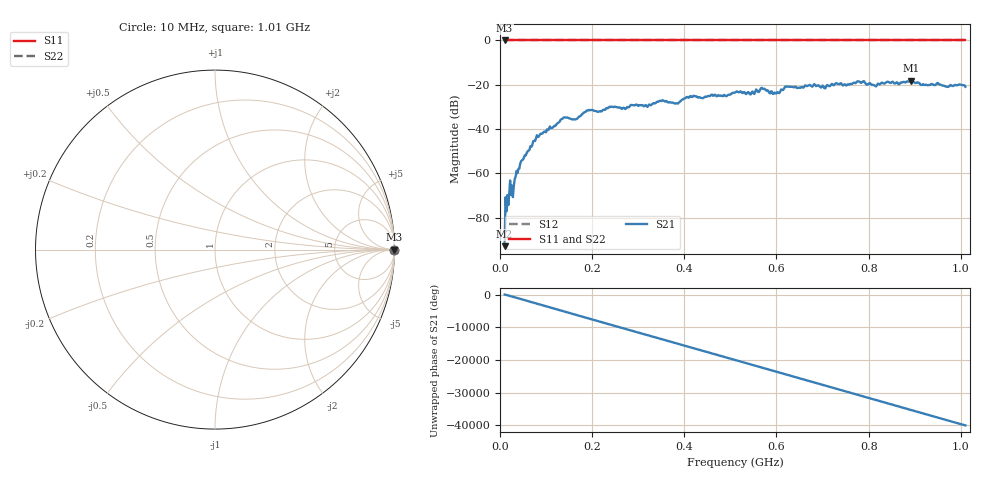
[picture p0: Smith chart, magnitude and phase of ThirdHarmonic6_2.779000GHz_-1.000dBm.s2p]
! 8/17/2025 7:07:08 AM
! C:\ANRITSUVNA\TEMP\TEMP.S2P
! CHANNEL.1
! TR.MEASUREMENT
! RAW.DATA
! RF.CORRECTION.OFF
! AVERAGING.OFF
! IF.BANDWIDTH: 5KHZ
! SWEEPTYPE:  FREQ.SWEEP(Linear)
! Reference Plane Port Info
! PORT:  PORT1  PORT2
! DISTANCE:  0  m  0  m
! TIME:  0  s  0  s
! PHASE.OFFSET:  0  deg.  0  deg.
! LOSS:  0  dB  0  dB
! REF.LOSS:  0  dB  0  dB
! REF.FREQ:  0  Hz  0  Hz
! Power Info
! POWER:  -20  dBm  -20  dBm
! EFF.POWER:  -20  dBm  -20  dBm
! SOURCE.ATTEN:  0  dB  0  dB
! TEST.ATTEN:  0  dB  0  dB
# GHZ S RI R 50.0
! FREQ.GHZ  S11RE  S11IM  S21RE  S21IM  S12RE  S12IM  S22RE  S22IM
!; PortSelection: Port_12
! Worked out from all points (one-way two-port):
!   501 points, 10 MHz to 1.01 GHz, reference 50 ohm
!   highest |S21| = -18.08 dB at 892 MHz (marker M1); lowest = -92.8 dB at 10 MHz (marker M2)
!   lowest |S11| = 0.0 dB at 10 MHz (marker M3)
!   |S11| at or under -10 dB: nowhere
!   |S22| runs from 0.0 to 0.0 dB; largest |S21 - S12| = 1.1
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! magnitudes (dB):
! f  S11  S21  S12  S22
! 10 MHz  0.0  -92.8  0.0  0.0
! 20 MHz  0.0  -69.3  0.0  0.0
! 28 MHz  0.0  -70.7  0.0  0.0
! 44 MHz  0.0  -55.4  0.0  0.0
! 76 MHz  0.0  -45.4  0.0  0.0
! 136 MHz  0.0  -35.2  0.0  0.0
! 162 MHz  0.0  -35.7  0.0  0.0
! 178 MHz  0.0  -33.2  0.0  0.0
! 192 MHz  0.0  -31.6  0.0  0.0
! 316 MHz  0.0  -29.1  0.0  0.0
! 344 MHz  0.0  -27.6  0.0  0.0
! 382 MHz  0.0  -28.4  0.0  0.0
! 410 MHz  0.0  -25.8  0.0  0.0
! 510 MHz  0.0  -23.5  0.0  0.0
! 548 MHz  0.0  -23.0  0.0  0.0
! 570 MHz  0.0  -21.8  0.0  0.0
! 596 MHz  0.0  -23.5  0.0  0.0
! 622 MHz  0.0  -20.8  0.0  0.0
! 678 MHz  0.0  -20.8  0.0  0.0
! 844 MHz  0.0  -18.8  0.0  0.0
! 892 MHz  0.0  -18.1  0.0  0.0
! 1.01 GHz  0.0  -20.9  0.0  0.0
